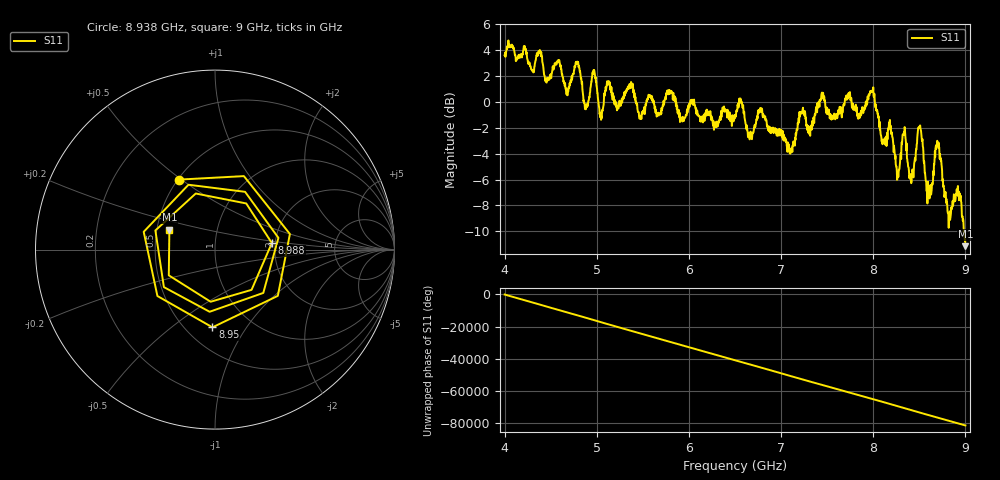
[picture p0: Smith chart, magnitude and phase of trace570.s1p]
! Created with skrf 1.8.0 (http://scikit-rf.org).
# Hz S RI R 50.0
!freq ReS11 ImS11
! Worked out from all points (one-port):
!   1601 points, 4 GHz to 9 GHz, reference 50 ohm
!   lowest |S11| = -11.1 dB at 9 GHz (marker M1), VSWR 1.77, Z = 29.1 + j6.98 ohm
!   |S11| at or under -10 dB: 8.983118 GHz to 8.986774 GHz (3.656 MHz wide, 0.0407 % of centre); 8.988477 GHz to end of sweep
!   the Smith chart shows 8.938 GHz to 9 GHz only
!   S11 on the Smith chart (normalised r, x): 8.938 GHz: 0.51, +0.49; 8.95 GHz: 0.67, -0.71; 8.988 GHz: 1.92, +0.16; 9 GHz: 0.58, +0.14
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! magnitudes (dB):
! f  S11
! 4 GHz  3.6
! 4.625 GHz  2.1
! 5.25 GHz  -0.2
! 5.369 GHz  1.3
! 5.875 GHz  -0.5
! 6.5 GHz  -1.0
! 7.125 GHz  -3.4
! 7.225 GHz  -0.8
! 7.309 GHz  -2.4
! 7.444 GHz  0.7
! 7.566 GHz  -1.3
! 7.75 GHz  0.4
! 7.85 GHz  -0.9
! 7.988 GHz  0.8
! 8.103 GHz  -3.2
! 8.191 GHz  -1.9
! 8.262 GHz  -5.9
! 8.331 GHz  -2.4
! 8.375 GHz  -4.7
! 8.416 GHz  -6.2
! 8.503 GHz  -1.9
! 8.603 GHz  -7.4
! 8.694 GHz  -3.0
! 8.816 GHz  -8.7
! 8.938 GHz  -7.2
! 8.95 GHz  -7.3
! 8.988 GHz  -9.9
! 9 GHz  -11.1
